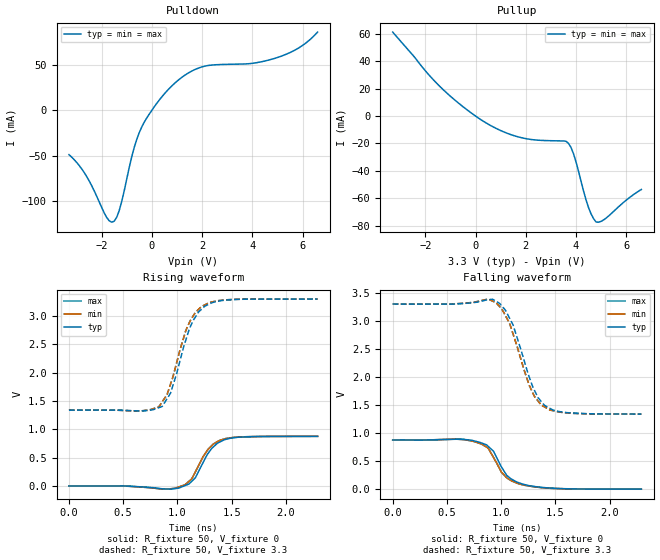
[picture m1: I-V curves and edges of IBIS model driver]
| IBIS file ex2_skewp_tr50ps.ibs created by PYS2IBIS3
| Missouri S&T EMC Lab
[IBIS Ver] 7.1
[File Name] ex2_skewp_tr50ps.ibs
[File Rev] 1.0
[Date] July 28, 2026
[Source] ex2 variant 'skewp' -- output PMOS at half width
[Notes] Parameter selection; sim_time=2.292e-09, tr=tf=5.000e-11.
[Disclaimer] Experimental characterization for pybis observability study.
[Component] MCM Driver 1
[Manufacturer] MegaFLOPS Inc.
[Package]
| variable   typ   min   max
R_pkg 0 NA NA
L_pkg 0H NA NA
C_pkg 0F NA NA
[Pin]  signal_name   model_name   R_pin   L_pin   C_pin
vdd   vdd   POWER
gnd   gnd   GND
| in in dummy
out   out   driver
| End of Component
| Models and submodels in the file (1): driver (Output)
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[Model] driver
Model_type Output
Polarity Non-Inverting
Enable Active-Low
Vinl  = 0.8V
Vinh  = 2V
C_comp 5.0000pF 5.0000pF 5.0000pF
[Temperature Range] 27.0000 27.0000 27.0000
[Voltage Range] 3.3000V 3.3000V 3.3000V
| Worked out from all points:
|   slope of the pulldown table from 0 to 0.495 V, typ, clamps not added: 27.4 ohm
|   slope of the pullup table from 0 to 0.495 V, typ, clamps not added: 85.1 ohm
|   rising waveform, R_fixture 50, V_fixture 0: 20-80 % time 164ps typ, 165ps min, 165ps max; typ from 0 V to 0.876 V
|   rising waveform, R_fixture 50, V_fixture 3.3: 20-80 % time 190ps typ, 190ps min, 190ps max; typ from 1.34 V to 3.3 V
|   falling waveform, R_fixture 50, V_fixture 0: 20-80 % time 184ps typ, 183ps min, 183ps max; typ from 0.876 V to 0 V
|   falling waveform, R_fixture 50, V_fixture 3.3: 20-80 % time 201ps typ, 202ps min, 202ps max; typ from 3.3 V to 1.34 V
[Pulldown]
| Voltage   I(typ)   I(min)   I(max)
-3.3V     -48.93mA   -48.93mA   -48.93mA
-2.6V     -72.86mA   -72.86mA   -72.86mA
-1.8V     -118.2mA   -118.2mA   -118.2mA
-1.5V     -122.5mA   -122.5mA   -122.5mA
-1.3V     -110.9mA   -110.9mA   -110.9mA
-800mV    -51.3mA    -51.3mA    -51.3mA
-500mV    -24.59mA   -24.59mA   -24.59mA
100mV     4.004mA    4.004mA    4.004mA
900mV     29.68mA    29.68mA    29.68mA
2.1V      48.76mA    48.76mA    48.76mA
5.1V      59.31mA    59.31mA    59.31mA
6.6V      86.45mA    86.45mA    86.45mA
[Pullup]
| Voltage   I(typ)   I(min)   I(max)
-3.3V     61.37mA    61.37mA    61.37mA
-1.4V     21.26mA    21.26mA    21.26mA
-600mV    8.306mA    8.306mA    8.306mA
300mV     -3.662mA   -3.662mA   -3.662mA
1.7V      -15.2mA    -15.2mA    -15.2mA
3.6V      -18.41mA   -18.41mA   -18.41mA
3.7V      -19.94mA   -19.94mA   -19.94mA
3.9V      -27.54mA   -27.54mA   -27.54mA
4.5V      -66.93mA   -66.93mA   -66.93mA
4.8V      -77.41mA   -77.41mA   -77.41mA
5.1V      -75.86mA   -75.86mA   -75.86mA
6.6V      -53.64mA   -53.64mA   -53.64mA
[Ramp]
| variable   typ   min   max
dV/dt_r 0.5258/0.1639n 0.5258/0.1649n 0.5258/0.1649n
dV/dt_f 1.1766/0.2009n 1.1766/0.2021n 1.1766/0.2021n
R_load = 50
[Rising Waveform]
R_fixture = 50
V_fixture = 0
|time   V(typ)   V(min)   V(max)
0s        3.917nV    3.917nV    3.917nV
468.1ps   2.591mV    1.101mV    1.101mV
901.8ps   -54.02mV   -56.38mV   -56.38mV
1.007ns   -40.5mV    -21.66mV   -21.66mV
1.129ns   75.97mV    118.9mV    118.9mV
1.163ns   138.9mV    241.6mV    241.6mV
1.28ns    569.1mV    642.5mV    642.5mV
1.386ns   772.7mV    802.4mV    802.4mV
1.576ns   862.7mV    865.9mV    865.9mV
2.292ns   876.3mV    876.3mV    876.3mV
[Rising Waveform]
R_fixture = 50
V_fixture = 3.3
|time   V(typ)   V(min)   V(max)
0s        1.338V     1.338V     1.338V
667.7ps   1.326V     1.326V     1.326V
826ps     1.381V     1.394V     1.394V
860.5ps   1.405V     1.487V     1.487V
936.2ps   1.639V     1.795V     1.795V
1.074ns   2.559V     2.722V     2.722V
1.115ns   2.796V     2.907V     2.907V
1.198ns   3.078V     3.124V     3.124V
1.292ns   3.21V      3.236V     3.236V
2.292ns   3.3V       3.3V       3.3V
[Falling Waveform]
R_fixture = 50
V_fixture = 0
|time   V(typ)   V(min)   V(max)
0s        876.4mV    876.4mV    876.4mV
580.5ps   889.8mV    891.3mV    891.3mV
798.5ps   837.9mV    818.3mV    818.3mV
878.8ps   766.1mV    735.2mV    735.2mV
929.3ps   676.5mV    567mV      567mV
1ns       401.6mV    306.4mV    306.4mV
1.049ns   251.1mV    205.9mV    205.9mV
1.2ns     89.69mV    75.49mV    75.49mV
1.482ns   14.49mV    13.01mV    13.01mV
2.292ns   106.3uV    78.58uV    78.58uV
[Falling Waveform]
R_fixture = 50
V_fixture = 3.3
|time   V(typ)   V(min)   V(max)
0s        3.3V       3.3V       3.3V
566.8ps   3.3V       3.303V     3.303V
920.1ps   3.386V     3.353V     3.353V
1.007ns   3.263V     3.207V     3.207V
1.104ns   2.951V     2.805V     2.805V
1.262ns   1.982V     1.837V     1.837V
1.37ns    1.562V     1.5V       1.5V
1.478ns   1.41V      1.398V     1.398V
1.609ns   1.363V     1.359V     1.359V
2.292ns   1.339V     1.339V     1.339V
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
